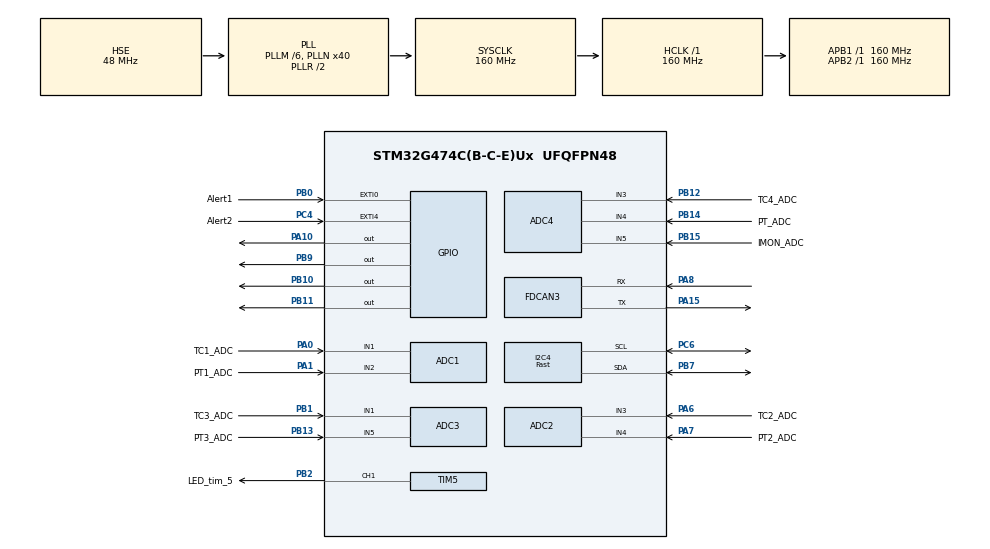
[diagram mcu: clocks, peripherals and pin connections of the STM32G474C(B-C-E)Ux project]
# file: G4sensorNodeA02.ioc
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ADC1.Channel-0\#ChannelRegularConversion=ADC_CHANNEL_1
ADC1.Channel-3\#ChannelRegularConversion=ADC_CHANNEL_2
ADC1.ClockPrescaler=ADC_CLOCK_ASYNC_DIV4
ADC1.ContinuousConvMode=DISABLE
ADC1.DMAContinuousRequests=ENABLE
ADC1.EnableInjectedConversion=DISABLE
ADC1.ExternalTrigConv=ADC_EXTERNALTRIG_T6_TRGO
ADC1.NbrOfConversion=2
ADC1.NbrOfConversionFlag=1
ADC1.OffsetNumber-0\#ChannelRegularConversion=ADC_OFFSET_NONE
ADC1.OffsetNumber-3\#ChannelRegularConversion=ADC_OFFSET_NONE
ADC1.Overrun=ADC_OVR_DATA_OVERWRITTEN
ADC1.OversamplingMode=ENABLE
ADC1.Rank-0\#ChannelRegularConversion=1
ADC1.Rank-3\#ChannelRegularConversion=2
ADC1.Rank1_Channel=ADC_CHANNEL_1
ADC1.Rank2_Channel=ADC_CHANNEL_2
ADC1.Ratio=ADC_OVERSAMPLING_RATIO_256
ADC1.RightBitShift=ADC_RIGHTBITSHIFT_4
ADC1.SamplingTime-0\#ChannelRegularConversion=ADC_SAMPLETIME_2CYCLES_5
ADC1.SamplingTime-3\#ChannelRegularConversion=ADC_SAMPLETIME_2CYCLES_5
ADC1.master=1
ADC2.Channel-1\#ChannelRegularConversion=ADC_CHANNEL_3
ADC2.Channel-2\#ChannelRegularConversion=ADC_CHANNEL_4
ADC2.ClockPrescaler=ADC_CLOCK_ASYNC_DIV4
ADC2.DMAContinuousRequests=ENABLE
ADC2.ExternalTrigConv=ADC_EXTERNALTRIG_T6_TRGO
ADC2.NbrOfConversion=2
ADC2.NbrOfConversionFlag=1
ADC2.OffsetNumber-1\#ChannelRegularConversion=ADC_OFFSET_NONE
ADC2.OffsetNumber-2\#ChannelRegularConversion=ADC_OFFSET_NONE
ADC2.Overrun=ADC_OVR_DATA_OVERWRITTEN
ADC2.OversamplingMode=ENABLE
ADC2.Rank-1\#ChannelRegularConversion=1
ADC2.Rank-2\#ChannelRegularConversion=2
ADC2.Ratio=ADC_OVERSAMPLING_RATIO_256
ADC2.RightBitShift=ADC_RIGHTBITSHIFT_4
ADC2.SamplingTime-1\#ChannelRegularConversion=ADC_SAMPLETIME_2CYCLES_5
ADC2.SamplingTime-2\#ChannelRegularConversion=ADC_SAMPLETIME_2CYCLES_5
ADC3.Channel-0\#ChannelRegularConversion=ADC_CHANNEL_1
ADC3.Channel-1\#ChannelRegularConversion=ADC_CHANNEL_5
ADC3.ClockPrescaler=ADC_CLOCK_ASYNC_DIV4
ADC3.DMAContinuousRequests=ENABLE
ADC3.ExternalTrigConv=ADC_EXTERNALTRIG_T6_TRGO
ADC3.NbrOfConversion=2
ADC3.NbrOfConversionFlag=1
ADC3.OffsetNumber-0\#ChannelRegularConversion=ADC_OFFSET_NONE
ADC3.OffsetNumber-1\#ChannelRegularConversion=ADC_OFFSET_NONE
ADC3.Overrun=ADC_OVR_DATA_OVERWRITTEN
ADC3.OversamplingMode=ENABLE
ADC3.Rank-0\#ChannelRegularConversion=1
ADC3.Rank-1\#ChannelRegularConversion=2
ADC3.Ratio=ADC_OVERSAMPLING_RATIO_256
ADC3.RightBitShift=ADC_RIGHTBITSHIFT_4
ADC3.SamplingTime-0\#ChannelRegularConversion=ADC_SAMPLETIME_2CYCLES_5
ADC3.SamplingTime-1\#ChannelRegularConversion=ADC_SAMPLETIME_2CYCLES_5
ADC3.master=1
ADC4.Channel-0\#ChannelRegularConversion=ADC_CHANNEL_3
ADC4.Channel-1\#ChannelRegularConversion=ADC_CHANNEL_4
ADC4.ClockPrescaler=ADC_CLOCK_ASYNC_DIV4
ADC4.DMAContinuousRequests=ENABLE
ADC4.ExternalTrigConv=ADC_EXTERNALTRIG_T6_TRGO
ADC4.NbrOfConversion=2
ADC4.NbrOfConversionFlag=1
ADC4.OffsetNumber-0\#ChannelRegularConversion=ADC_OFFSET_NONE
ADC4.OffsetNumber-1\#ChannelRegularConversion=ADC_OFFSET_NONE
ADC4.Overrun=ADC_OVR_DATA_OVERWRITTEN
ADC4.OversamplingMode=ENABLE
ADC4.Rank-0\#ChannelRegularConversion=1
ADC4.Rank-1\#ChannelRegularConversion=2
ADC4.Ratio=ADC_OVERSAMPLING_RATIO_256
ADC4.RightBitShift=ADC_RIGHTBITSHIFT_4
ADC4.SamplingTime-0\#ChannelRegularConversion=ADC_SAMPLETIME_2CYCLES_5
ADC4.SamplingTime-1\#ChannelRegularConversion=ADC_SAMPLETIME_2CYCLES_5
Dma.ADC1.3.Direction=DMA_PERIPH_TO_MEMORY
Dma.ADC1.3.EventEnable=DISABLE
Dma.ADC1.3.Instance=DMA1_Channel4
Dma.ADC1.3.MemDataAlignment=DMA_MDATAALIGN_HALFWORD
Dma.ADC1.3.MemInc=DMA_MINC_ENABLE
Dma.ADC1.3.Mode=DMA_CIRCULAR
Dma.ADC1.3.PeriphDataAlignment=DMA_PDATAALIGN_HALFWORD
Dma.ADC1.3.PeriphInc=DMA_PINC_DISABLE
Dma.ADC1.3.Polarity=HAL_DMAMUX_REQ_GEN_RISING
Dma.ADC1.3.Priority=DMA_PRIORITY_VERY_HIGH
Dma.ADC1.3.RequestNumber=1
Dma.ADC1.3.SignalID=NONE
Dma.ADC1.3.SyncEnable=DISABLE
Dma.ADC1.3.SyncPolarity=HAL_DMAMUX_SYNC_NO_EVENT
Dma.ADC1.3.SyncRequestNumber=1
Dma.ADC1.3.SyncSignalID=NONE
Dma.ADC2.4.Direction=DMA_PERIPH_TO_MEMORY
Dma.ADC2.4.EventEnable=DISABLE
Dma.ADC2.4.Instance=DMA1_Channel5
Dma.ADC2.4.MemDataAlignment=DMA_MDATAALIGN_HALFWORD
Dma.ADC2.4.MemInc=DMA_MINC_ENABLE
Dma.ADC2.4.Mode=DMA_CIRCULAR
Dma.ADC2.4.PeriphDataAlignment=DMA_PDATAALIGN_HALFWORD
Dma.ADC2.4.PeriphInc=DMA_PINC_DISABLE
Dma.ADC2.4.Polarity=HAL_DMAMUX_REQ_GEN_RISING
Dma.ADC2.4.Priority=DMA_PRIORITY_VERY_HIGH
Dma.ADC2.4.RequestNumber=1
Dma.ADC2.4.SignalID=NONE
Dma.ADC2.4.SyncEnable=DISABLE
Dma.ADC2.4.SyncPolarity=HAL_DMAMUX_SYNC_NO_EVENT
Dma.ADC2.4.SyncRequestNumber=1
Dma.ADC2.4.SyncSignalID=NONE
Dma.ADC3.5.Direction=DMA_PERIPH_TO_MEMORY
Dma.ADC3.5.EventEnable=DISABLE
Dma.ADC3.5.Instance=DMA1_Channel6
Dma.ADC3.5.MemDataAlignment=DMA_MDATAALIGN_HALFWORD
Dma.ADC3.5.MemInc=DMA_MINC_ENABLE
Dma.ADC3.5.Mode=DMA_CIRCULAR
Dma.ADC3.5.PeriphDataAlignment=DMA_PDATAALIGN_HALFWORD
Dma.ADC3.5.PeriphInc=DMA_PINC_DISABLE
Dma.ADC3.5.Polarity=HAL_DMAMUX_REQ_GEN_RISING
Dma.ADC3.5.Priority=DMA_PRIORITY_VERY_HIGH
Dma.ADC3.5.RequestNumber=1
Dma.ADC3.5.SignalID=NONE
Dma.ADC3.5.SyncEnable=DISABLE
Dma.ADC3.5.SyncPolarity=HAL_DMAMUX_SYNC_NO_EVENT
Dma.ADC3.5.SyncRequestNumber=1
Dma.ADC3.5.SyncSignalID=NONE
Dma.ADC4.6.Direction=DMA_PERIPH_TO_MEMORY
Dma.ADC4.6.EventEnable=DISABLE
Dma.ADC4.6.Instance=DMA1_Channel7
Dma.ADC4.6.MemDataAlignment=DMA_MDATAALIGN_HALFWORD
Dma.ADC4.6.MemInc=DMA_MINC_ENABLE
Dma.ADC4.6.Mode=DMA_CIRCULAR
Dma.ADC4.6.PeriphDataAlignment=DMA_PDATAALIGN_HALFWORD
Dma.ADC4.6.PeriphInc=DMA_PINC_DISABLE
Dma.ADC4.6.Polarity=HAL_DMAMUX_REQ_GEN_RISING
Dma.ADC4.6.Priority=DMA_PRIORITY_VERY_HIGH
Dma.ADC4.6.RequestNumber=1
Dma.ADC4.6.SignalID=NONE
Dma.ADC4.6.SyncEnable=DISABLE
Dma.ADC4.6.SyncPolarity=HAL_DMAMUX_SYNC_NO_EVENT
Dma.ADC4.6.SyncRequestNumber=1
Dma.ADC4.6.SyncSignalID=NONE
Dma.I2C4_RX.1.Direction=DMA_PERIPH_TO_MEMORY
Dma.I2C4_RX.1.EventEnable=DISABLE
Dma.I2C4_RX.1.Instance=DMA1_Channel2
Dma.I2C4_RX.1.MemDataAlignment=DMA_MDATAALIGN_BYTE
Dma.I2C4_RX.1.MemInc=DMA_MINC_ENABLE
Dma.I2C4_RX.1.Mode=DMA_NORMAL
Dma.I2C4_RX.1.PeriphDataAlignment=DMA_PDATAALIGN_BYTE
Dma.I2C4_RX.1.PeriphInc=DMA_PINC_DISABLE
Dma.I2C4_RX.1.Polarity=HAL_DMAMUX_REQ_GEN_RISING
Dma.I2C4_RX.1.Priority=DMA_PRIORITY_HIGH
Dma.I2C4_RX.1.RequestNumber=1
Dma.I2C4_RX.1.SignalID=NONE
Dma.I2C4_RX.1.SyncEnable=DISABLE
Dma.I2C4_RX.1.SyncPolarity=HAL_DMAMUX_SYNC_NO_EVENT
Dma.I2C4_RX.1.SyncRequestNumber=1
Dma.I2C4_RX.1.SyncSignalID=NONE
Dma.I2C4_TX.2.Direction=DMA_MEMORY_TO_PERIPH
Dma.I2C4_TX.2.EventEnable=DISABLE
Dma.I2C4_TX.2.Instance=DMA1_Channel3
Dma.I2C4_TX.2.MemDataAlignment=DMA_MDATAALIGN_HALFWORD
Dma.I2C4_TX.2.MemInc=DMA_MINC_ENABLE
Dma.I2C4_TX.2.Mode=DMA_CIRCULAR
Dma.I2C4_TX.2.PeriphDataAlignment=DMA_PDATAALIGN_HALFWORD
Dma.I2C4_TX.2.PeriphInc=DMA_PINC_DISABLE
Dma.I2C4_TX.2.Polarity=HAL_DMAMUX_REQ_GEN_RISING
Dma.I2C4_TX.2.Priority=DMA_PRIORITY_HIGH
Dma.I2C4_TX.2.RequestNumber=1
Dma.I2C4_TX.2.SignalID=NONE
Dma.I2C4_TX.2.SyncEnable=DISABLE
Dma.I2C4_TX.2.SyncPolarity=HAL_DMAMUX_SYNC_NO_EVENT
Dma.I2C4_TX.2.SyncRequestNumber=1
Dma.I2C4_TX.2.SyncSignalID=NONE
Dma.Request0=TIM5_CH1
Dma.Request1=I2C4_RX
Dma.Request2=I2C4_TX
Dma.Request3=ADC1
Dma.Request4=ADC2
Dma.Request5=ADC3
Dma.Request6=ADC4
Dma.TIM5_CH1.0.Direction=DMA_MEMORY_TO_PERIPH
Dma.TIM5_CH1.0.EventEnable=DISABLE
Dma.TIM5_CH1.0.Instance=DMA1_Channel1
Dma.TIM5_CH1.0.MemDataAlignment=DMA_MDATAALIGN_WORD
Dma.TIM5_CH1.0.MemInc=DMA_MINC_ENABLE
Dma.TIM5_CH1.0.Mode=DMA_NORMAL
Dma.TIM5_CH1.0.PeriphDataAlignment=DMA_PDATAALIGN_WORD
Dma.TIM5_CH1.0.PeriphInc=DMA_PINC_DISABLE
Dma.TIM5_CH1.0.Polarity=HAL_DMAMUX_REQ_GEN_RISING
Dma.TIM5_CH1.0.Priority=DMA_PRIORITY_HIGH
Dma.TIM5_CH1.0.RequestNumber=1
Dma.TIM5_CH1.0.SignalID=NONE
Dma.TIM5_CH1.0.SyncEnable=DISABLE
Dma.TIM5_CH1.0.SyncPolarity=HAL_DMAMUX_SYNC_NO_EVENT
Dma.TIM5_CH1.0.SyncRequestNumber=1
Dma.TIM5_CH1.0.SyncSignalID=NONE
FDCAN3.AutoRetransmission=ENABLE
FDCAN3.CalculateBaudRateNominal=1000000
FDCAN3.CalculateTimeBitNominal=1000
FDCAN3.CalculateTimeQuantumNominal=50.0
FDCAN3.DataPrescaler=1
FDCAN3.DataSyncJumpWidth=4
FDCAN3.DataTimeSeg1=5
FDCAN3.DataTimeSeg2=2
FDCAN3.FrameFormat=FDCAN_FRAME_FD_BRS
FDCAN3.Mode=FDCAN_MODE_EXTERNAL_LOOPBACK
FDCAN3.NominalPrescaler=2
FDCAN3.NominalTimeSeg1=15
FDCAN3.NominalTimeSeg2=4
FDCAN3.StdFiltersNbr=1
I2C4.I2C_Speed_Mode=I2C_Fast
I2C4.Timing=0x10F32A82
Mcu.Family=STM32G4
Mcu.Name=STM32G474C(B-C-E)Ux
Mcu.Package=UFQFPN48
NVIC.DMA1_Channel1_IRQn=true\:4\:0\:true\:false\:true\:false\:true\:true
NVIC.DMA1_Channel2_IRQn=true\:1\:0\:true\:false\:true\:false\:true\:true
NVIC.DMA1_Channel3_IRQn=true\:1\:0\:true\:false\:true\:false\:true\:true
NVIC.DMA1_Channel4_IRQn=true\:0\:0\:false\:false\:true\:false\:true\:true
NVIC.DMA1_Channel5_IRQn=true\:0\:0\:false\:false\:true\:false\:true\:true
NVIC.DMA1_Channel6_IRQn=true\:0\:0\:false\:false\:true\:false\:true\:true
NVIC.DMA1_Channel7_IRQn=true\:0\:0\:false\:false\:true\:false\:true\:true
NVIC.EXTI0_IRQn=true\:3\:0\:true\:false\:true\:true\:true\:true
NVIC.EXTI4_IRQn=true\:3\:0\:true\:false\:true\:true\:true\:true
NVIC.I2C4_ER_IRQn=true\:3\:0\:true\:false\:true\:true\:true\:true
NVIC.I2C4_EV_IRQn=true\:3\:0\:true\:false\:true\:true\:true\:true
NVIC.PriorityGroup=NVIC_PRIORITYGROUP_4
NVIC.TIM5_IRQn=true\:5\:0\:true\:false\:true\:true\:true\:true
NVIC.TIM7_DAC_IRQn=true\:6\:0\:true\:false\:true\:true\:true\:true
PA0.GPIO_Label=TC1_ADC
PA0.Mode=IN1-Single-Ended
PA0.Signal=ADC1_IN1
PA1.GPIO_Label=PT1_ADC
PA1.Mode=IN2-Single-Ended
PA1.Signal=ADC1_IN2
PA10.Signal=GPIO_Output
PA13.Mode=Trace_Asynchronous_SW
PA13.Signal=SYS_JTMS-SWDIO
PA14.Mode=Trace_Asynchronous_SW
PA14.Signal=SYS_JTCK-SWCLK
PA15.GPIO_Speed=GPIO_SPEED_FREQ_HIGH
PA15.Mode=FDCAN_Activate
PA15.Signal=FDCAN3_TX
PA6.GPIO_Label=TC2_ADC
PA6.Mode=IN3-Single-Ended
PA6.Signal=ADC2_IN3
PA7.GPIO_Label=PT2_ADC
PA7.Mode=IN4-Single-Ended
PA7.Signal=ADC2_IN4
PA8.GPIO_Speed=GPIO_SPEED_FREQ_HIGH
PA8.Mode=FDCAN_Activate
PA8.Signal=FDCAN3_RX
PB0.GPIO_Label=Alert1
PB0.GPIO_ModeDefaultEXTI=GPIO_MODE_IT_FALLING
PB0.Signal=GPXTI0
PB1.GPIO_Label=TC3_ADC
PB1.Mode=IN1-Single-Ended
PB1.Signal=ADC3_IN1
PB10.Signal=GPIO_Output
PB11.Signal=GPIO_Output
PB12.GPIO_Label=TC4_ADC
PB12.Mode=IN3-Single-Ended
PB12.Signal=ADC4_IN3
PB13.GPIO_Label=PT3_ADC
PB13.Mode=IN5-Single-Ended
PB13.Signal=ADC3_IN5
PB14.GPIO_Label=PT_ADC
PB14.Mode=IN4-Single-Ended
PB14.Signal=ADC4_IN4
PB15.GPIO_Label=IMON_ADC
PB15.Mode=IN5-Single-Ended
PB15.Signal=ADC4_IN5
PB2.GPIO_Label=LED_tim_5
PB2.GPIO_Speed=GPIO_SPEED_FREQ_VERY_HIGH
PB2.Signal=S_TIM5_CH1
PB3.Mode=Trace_Asynchronous_SW
PB3.Signal=SYS_JTDO-SWO
PB7.GPIO_Speed=GPIO_SPEED_FREQ_HIGH
PB7.Mode=I2C
PB7.Signal=I2C4_SDA
PB9.Signal=GPIO_Output
PC14-OSC32_IN.Mode=LSE-External-Oscillator
PC14-OSC32_IN.Signal=RCC_OSC32_IN
PC15-OSC32_OUT.Mode=LSE-External-Oscillator
PC15-OSC32_OUT.Signal=RCC_OSC32_OUT
PC4.GPIO_Label=Alert2
PC4.GPIO_ModeDefaultEXTI=GPIO_MODE_IT_FALLING
PC4.Signal=GPXTI4
PC6.GPIO_Speed=GPIO_SPEED_FREQ_HIGH
PC6.Mode=I2C
PC6.Signal=I2C4_SCL
PF0-OSC_IN.Mode=HSE-External-Oscillator
PF0-OSC_IN.Signal=RCC_OSC_IN
PF1-OSC_OUT.Mode=HSE-External-Oscillator
PF1-OSC_OUT.Signal=RCC_OSC_OUT
ProjectManager.HeapSize=0x200
ProjectManager.StackSize=0x400
ProjectManager.TargetToolchain=CMake
RCC.ADC12CLockSelection=RCC_ADC12CLKSOURCE_PLL
RCC.ADC12Freq_Value=160000000
RCC.ADC345CLockSelection=RCC_ADC345CLKSOURCE_PLL
RCC.ADC345Freq_Value=160000000
RCC.AHBFreq_Value=160000000
RCC.APB1Freq_Value=160000000
RCC.APB1TimFreq_Value=160000000
RCC.APB2Freq_Value=160000000
RCC.APB2TimFreq_Value=160000000
RCC.CortexFreq_Value=160000000
RCC.EXTERNAL_CLOCK_VALUE=12288000
RCC.FDCANCLockSelection=RCC_FDCANCLKSOURCE_PLL
RCC.HCLKFreq_Value=160000000
RCC.HSE_VALUE=48000000
RCC.HSI48_VALUE=48000000
RCC.HSI_VALUE=16000000
RCC.PLLM=RCC_PLLM_DIV6
RCC.PLLN=40
RCC.PLLQ=RCC_PLLQ_DIV8
RCC.PLLSourceVirtual=RCC_PLLSOURCE_HSE
RCC.RTCClockSelection=RCC_RTCCLKSOURCE_LSE
RCC.SYSCLKFreq_VALUE=160000000
RCC.SYSCLKSource=RCC_SYSCLKSOURCE_PLLCLK
RCC.USBFreq_Value=40000000
RCC.VCOOutputFreq_Value=320000000
SH.S_TIM5_CH1.0=TIM5_CH1,PWM Generation1 CH1
TIM5.Channel-PWM\ Generation1\ CH1=TIM_CHANNEL_1
TIM5.PeriodNoDither=212
TIM6.AutoReloadPreload=TIM_AUTORELOAD_PRELOAD_ENABLE
TIM6.PeriodNoDither=33999
TIM6.TIM_MasterOutputTrigger=TIM_TRGO_UPDATE
TIM7.AutoReloadPreload=TIM_AUTORELOAD_PRELOAD_ENABLE
TIM7.PeriodNoDither=999
TIM7.Prescaler=1599
TIM7.TIM_MasterOutputTrigger=TIM_TRGO_UPDATE
VP_RTC_VS_RTC_Activate.Mode=RTC_Enabled
VP_SYS_VS_DBSignals.Mode=DisableDeadBatterySignals
VP_TIM6_VS_ClockSourceINT.Mode=Enable_Timer
VP_TIM7_VS_ClockSourceINT.Mode=Enable_Timer
board=custom

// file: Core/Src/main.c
/* USER CODE BEGIN Header */
/**
  ******************************************************************************
  * @file           : main.c
  * @brief          : Main program body
  ******************************************************************************
  * @attention
  *
  * Copyright (c) 2025 STMicroelectronics.
  * All rights reserved.
  *
  * This software is licensed under terms that can be found in the LICENSE file
  * in the root directory of this software component.
  * If no LICENSE file comes with this software, it is provided AS-IS.
  *
  ******************************************************************************
  */
/* USER CODE END Header */
#include "main.h"
#include "adc.h"
#include "dma.h"
#include "fdcan.h"
#include "i2c.h"
#include "rtc.h"
#include "tim.h"
#include "gpio.h"
#include "data_app.h"

/* USER CODE BEGIN Includes */

#include "math.h"
#include "sk6812.h"
#include "tmp117.h"
#include "adc_dma.h"
#include "tc_k.h"
#include "acan.h"
#include "light_service.h"
#include "rgb_light_service.h"
#include <stdint.h>
//#include "data_app.c"

/* USER CODE END Includes */

/* USER CODE BEGIN PV */
extern I2C_HandleTypeDef hi2c4;   // from i2c.c

extern FDCAN_HandleTypeDef hfdcan3;

// Driver instances
static tmp117_t g_tmp117_48;  // ALERT on PC4, addr 0x48
static tmp117_t g_tmp117_49;  // ALERT on PB0, addr 0x49

static tmp117_t *g_tmp_list[] = {
    &g_tmp117_48,
    &g_tmp117_49
};

static const uint8_t g_tmp_count = sizeof(g_tmp_list) / sizeof(g_tmp_list[0]);

/* USER CODE END PV */

void SystemClock_Config(void);

int main(void)
{

  /* MCU Configuration--------------------------------------------------------*/

  /* Reset of all peripherals, Initializes the Flash interface and the Systick. */
  HAL_Init();

  /* Configure the system clock */
  SystemClock_Config();

  /* Initialize all configured peripherals */
  MX_GPIO_Init();
  MX_DMA_Init();
  MX_TIM5_Init();
  MX_I2C4_Init();
  MX_ADC1_Init();
  MX_ADC2_Init();
  MX_ADC3_Init();
  MX_ADC4_Init();
  MX_TIM6_Init();
  MX_FDCAN3_Init();
  MX_RTC_Init();
  MX_TIM7_Init();
  /* USER CODE BEGIN 2 */

  //ADC and thermocouple handling stuff
  init_data_app();
  ADC_DMA_StartAll();

  //on-board temp sensors
  TMP117_Init(&g_tmp117_49, &hi2c4, 0x49);
  TMP117_Init(&g_tmp117_48, &hi2c4, 0x48);

  TMP117_EnableDRDYonAlert(&g_tmp117_49, 0);
  TMP117_EnableDRDYonAlert(&g_tmp117_48, 0);

  //CAN bus
  ACAN_Init(&hfdcan3);

  //LED services
  light_service_init(0x5);
  light_service_set_state(LED_DISPLAY_BOUNCE_CYCLE);

  rgb_light_service_init();
  rgb_light_service_set_state(RGB_DISPLAY_TEMPERATURE);

  HAL_TIM_Base_Start_IT(&htim7); //interrupt running rgb and light service updates

  /* USER CODE END 2 */

  /* Infinite loop */
  while (1)
  {

  }
}

void SystemClock_Config(void)
{
  RCC_OscInitTypeDef RCC_OscInitStruct = {0};
  RCC_ClkInitTypeDef RCC_ClkInitStruct = {0};

  /** Configure the main internal regulator output voltage
  */
  HAL_PWREx_ControlVoltageScaling(PWR_REGULATOR_VOLTAGE_SCALE1_BOOST);

  /** Configure LSE Drive Capability
  */
  HAL_PWR_EnableBkUpAccess();
  __HAL_RCC_LSEDRIVE_CONFIG(RCC_LSEDRIVE_LOW);

  /** Initializes the RCC Oscillators according to the specified parameters
  * in the RCC_OscInitTypeDef structure.
  */
  RCC_OscInitStruct.OscillatorType = RCC_OSCILLATORTYPE_HSE|RCC_OSCILLATORTYPE_LSE;
  RCC_OscInitStruct.HSEState = RCC_HSE_ON;
  RCC_OscInitStruct.LSEState = RCC_LSE_ON;
  RCC_OscInitStruct.PLL.PLLState = RCC_PLL_ON;
  RCC_OscInitStruct.PLL.PLLSource = RCC_PLLSOURCE_HSE;
  RCC_OscInitStruct.PLL.PLLM = RCC_PLLM_DIV6;
  RCC_OscInitStruct.PLL.PLLN = 40;
  RCC_OscInitStruct.PLL.PLLP = RCC_PLLP_DIV2;
  RCC_OscInitStruct.PLL.PLLQ = RCC_PLLQ_DIV8;
  RCC_OscInitStruct.PLL.PLLR = RCC_PLLR_DIV2;
  if (HAL_RCC_OscConfig(&RCC_OscInitStruct) != HAL_OK)
  {
    Error_Handler();
  }

  /** Initializes the CPU, AHB and APB buses clocks
  */
  RCC_ClkInitStruct.ClockType = RCC_CLOCKTYPE_HCLK|RCC_CLOCKTYPE_SYSCLK
                              |RCC_CLOCKTYPE_PCLK1|RCC_CLOCKTYPE_PCLK2;
  RCC_ClkInitStruct.SYSCLKSource = RCC_SYSCLKSOURCE_PLLCLK;
  RCC_ClkInitStruct.AHBCLKDivider = RCC_SYSCLK_DIV1;
  RCC_ClkInitStruct.APB1CLKDivider = RCC_HCLK_DIV1;
  RCC_ClkInitStruct.APB2CLKDivider = RCC_HCLK_DIV1;

  if (HAL_RCC_ClockConfig(&RCC_ClkInitStruct, FLASH_LATENCY_4) != HAL_OK)
  {
    Error_Handler();
  }
}

/* USER CODE BEGIN 4 */

void HAL_I2C_MemRxCpltCallback(I2C_HandleTypeDef *hi2c)
{
  TMP117_I2C_MemRxCpltIRQ(hi2c);

  data_update_cjc_temp(g_tmp117_48.last_degC, g_tmp117_49.last_degC);

  TMP117_Scheduler_Service(g_tmp_list, g_tmp_count);
}

void HAL_TIM_PeriodElapsedCallback(TIM_HandleTypeDef *htim)
{
    if (htim->Instance == TIM7) {
        light_service_update();
        rgb_light_service_update();
    }
}

void HAL_GPIO_EXTI_Callback(uint16_t GPIO_Pin)
{
    if (GPIO_Pin == GPIO_PIN_0) {
        // ALERT from TMP117 at 0x49 (PB0)
        TMP117_MarkPending(&g_tmp117_49);
    } else if (GPIO_Pin == GPIO_PIN_4) {
        // ALERT from TMP117 at 0x48 (PC4)
        TMP117_MarkPending(&g_tmp117_48);
    } else {
        return;
    }

    TMP117_Scheduler_Service(g_tmp_list, g_tmp_count);
}

/* USER CODE END 4 */

void Error_Handler(void)
{
  __disable_irq();
  while (1)
  {
  }
}
